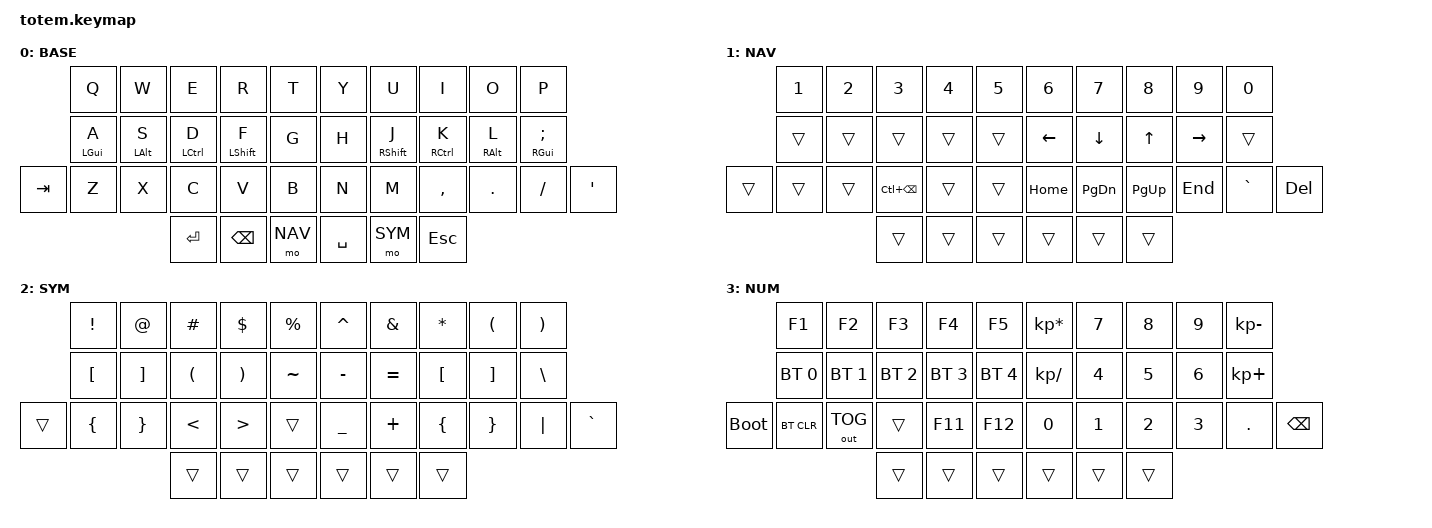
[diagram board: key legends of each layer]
// TOTEM — port of jh242/qmk-config-charybdis (Charybdis Mini "totem" keymap)
//
// Home-row mods own Gui/Alt/Ctrl/Shift → thumbs are NOT mod-taps.
//   - Thumbs: Ent · Bspc · NAV | Spc · SYM · Esc
//   - Outers: Tab / '
//   Combos: J+K → Esc, Z+X → Caps Word
//
// HRM tuned for fast/sloppy typing (urob-style):
// - opposite-hand only via hold-trigger-key-positions
// - require-prior-idle-ms → already typing = tap (kills roll false-holds)
// - hold-trigger-on-release → same-hand mod chords (Ctrl+Shift) still work

#include <behaviors.dtsi>
#include <dt-bindings/zmk/keys.h>
#include <dt-bindings/zmk/bt.h>
#include <dt-bindings/zmk/outputs.h>

#define BASE 0
#define NAV  1
#define SYM  2
#define NUM  3

// Position index map (keymap order):
//  0-4 left top   | 5-9 right top
// 10-14 left home | 15-19 right home
// 20-25 left bot  | 26-31 right bot
// 32-34 left thumbs | 35-37 right thumbs
#define KEYS_L 0 1 2 3 4 10 11 12 13 14 20 21 22 23 24 25
#define KEYS_R 5 6 7 8 9 15 16 17 18 19 26 27 28 29 30 31
#define THUMBS 32 33 34 35 36 37

&mt {
    flavor = "tap-preferred";
    tapping-term-ms = <180>;
    quick-tap-ms = <120>;
    global-quick-tap;
};

&lt {
    flavor = "balanced";
    tapping-term-ms = <180>;
    quick-tap-ms = <150>;
};

/ {
    behaviors {
        // Left home-row mods: hold only resolves against right hand (+ thumbs)
        hml: home_row_mod_left {
            compatible = "zmk,behavior-hold-tap";
            #binding-cells = <2>;
            flavor = "balanced";
            tapping-term-ms = <280>;
            quick-tap-ms = <175>;
            require-prior-idle-ms = <150>;
            bindings = <&kp>, <&kp>;
            hold-trigger-key-positions = <KEYS_R THUMBS>;
            hold-trigger-on-release;
        };

        // Right home-row mods: hold only resolves against left hand (+ thumbs)
        hmr: home_row_mod_right {
            compatible = "zmk,behavior-hold-tap";
            #binding-cells = <2>;
            flavor = "balanced";
            tapping-term-ms = <280>;
            quick-tap-ms = <175>;
            require-prior-idle-ms = <150>;
            bindings = <&kp>, <&kp>;
            hold-trigger-key-positions = <KEYS_L THUMBS>;
            hold-trigger-on-release;
        };
    };

    conditional_layers {
        compatible = "zmk,conditional-layers";
        tri_layer {
            if-layers = <NAV SYM>;
            then-layer = <NUM>;
        };
    };

    combos {
        compatible = "zmk,combos";

        combo_esc_jk {
            timeout-ms = <50>;
            key-positions = <16 17>;
            bindings = <&kp ESC>;
        };

        combo_caps_word {
            timeout-ms = <50>;
            key-positions = <21 22>;
            bindings = <&caps_word>;
        };
    };

    keymap {
        compatible = "zmk,keymap";

        base_layer {
            display-name = "BASE";
// -----------------------------------------------------------------------------------------
//           |  Q  |  W  |  E  |  R  |  T  |   |  Y  |  U  |  I  |  O  |  P  |
//           |A/GUI|S/ALT|D/CTL|F/SFT|  G  |   |  H  |J/SFT|K/CTL|L/ALT|;/GUI|
// |   Tab   |  Z  |  X  |  C  |  V  |  B  |   |  N  |  M  |  ,  |  .  |  /  |  '   |
//                     | Ent | Bspc| NAV |   | Spc | SYM | Esc |
            bindings = <
                        &kp Q          &kp W          &kp E          &kp R          &kp T            &kp Y          &kp U          &kp I          &kp O          &kp P
                        &hml LGUI A    &hml LALT S    &hml LCTRL D   &hml LSHFT F   &kp G            &kp H          &hmr RSHFT J   &hmr RCTRL K   &hmr RALT L    &hmr RGUI SEMI
            &kp TAB     &kp Z          &kp X          &kp C          &kp V          &kp B            &kp N          &kp M          &kp COMMA      &kp DOT        &kp FSLH       &kp APOS
                                                       &kp RET        &kp BSPC       &mo NAV          &kp SPACE      &mo SYM        &kp ESC
            >;
        };

        nav_layer {
            display-name = "NAV";
// Hold NAV (left thumb) → numbers + vim arrows on the right.
// -----------------------------------------------------------------------------------------
//           |  1  |  2  |  3  |  4  |  5  |   |  6  |  7  |  8  |  9  |  0  |
//           |     |     |     |     |     |   |  ←  |  ↓  |  ↑  |  →  |     |
// |         |     |     |wDel |     |     |   |Home |PgDn |PgUp | End |  `  | Del  |
//                     | NAV |     |     |   |     |     |     |
            bindings = <
                        &kp N1    &kp N2    &kp N3       &kp N4    &kp N5        &kp N6    &kp N7    &kp N8    &kp N9    &kp N0
                        &trans    &trans    &trans       &trans    &trans        &kp LEFT  &kp DOWN  &kp UP    &kp RIGHT &trans
            &trans      &trans    &trans    &kp LC(BSPC) &trans    &trans        &kp HOME  &kp PG_DN &kp PG_UP &kp END   &kp GRAVE &kp DEL
                                            &trans       &trans    &trans        &trans    &trans    &trans
            >;
        };

        sym_layer {
            display-name = "SYM";
// Hold SYM (right thumb) → brackets / operators (Charybdis layout).
// -----------------------------------------------------------------------------------------
//           |  !  |  @  |  #  |  $  |  %  |   |  ^  |  &  |  *  |  (  |  )  |
//           |  [  |  ]  |  (  |  )  |  ~  |   |  -  |  =  |  [  |  ]  |  \  |
// |         |  {  |  }  |  <  |  >  |     |   |  _  |  +  |  {  |  }  |  |  |  `   |
//                     |     |     |     |   |     | SYM |     |
            bindings = <
                        &kp EXCL  &kp AT    &kp HASH &kp DLLR &kp PRCNT      &kp CARET &kp AMPS &kp ASTRK &kp LPAR &kp RPAR
                        &kp LBKT  &kp RBKT  &kp LPAR &kp RPAR &kp TILDE      &kp MINUS &kp EQUAL &kp LBKT  &kp RBKT  &kp BSLH
            &trans      &kp LBRC  &kp RBRC  &kp LT   &kp GT   &trans         &kp UNDER &kp PLUS  &kp LBRC  &kp RBRC  &kp PIPE  &kp GRAVE
                                          &trans    &trans   &trans         &trans    &trans   &trans
            >;
        };

        num_layer {
            display-name = "NUM";
// NAV+SYM: numpad, F-keys, Bluetooth, flash helpers.
// -----------------------------------------------------------------------------------------
//           | F1  | F2  | F3  | F4  | F5  |   |  *  |  7  |  8  |  9  |  -  |
//           | BT0 | BT1 | BT2 | BT3 | BT4 |   |  /  |  4  |  5  |  6  |  +  |
// |  boot   | Clr | Out |     | F11 | F12 |   |  0  |  1  |  2  |  3  |  .  | Bspc |
//                     |     |     |     |   |     |     |     |
            bindings = <
                        &kp F1       &kp F2       &kp F3       &kp F4       &kp F5          &kp KP_MULTIPLY &kp N7 &kp N8 &kp N9 &kp KP_SUBTRACT
                        &bt BT_SEL 0 &bt BT_SEL 1 &bt BT_SEL 2 &bt BT_SEL 3 &bt BT_SEL 4    &kp KP_DIVIDE   &kp N4 &kp N5 &kp N6 &kp KP_PLUS
            &bootloader &bt BT_CLR   &out OUT_TOG &trans       &kp F11      &kp F12         &kp N0          &kp N1 &kp N2 &kp N3 &kp DOT      &kp BSPC
                                                      &trans       &trans       &trans          &trans          &trans &trans
            >;
        };
    };
};
